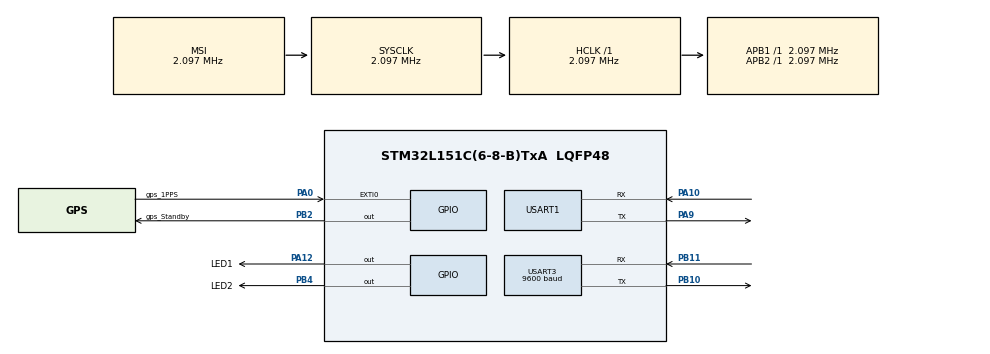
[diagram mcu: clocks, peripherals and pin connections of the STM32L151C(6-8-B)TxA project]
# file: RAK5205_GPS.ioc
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Mcu.Family=STM32L1
Mcu.Name=STM32L151C(6-8-B)TxA
Mcu.Package=LQFP48
NVIC.EXTI0_IRQn=true\:0\:0\:false\:false\:true\:true
NVIC.PriorityGroup=NVIC_PRIORITYGROUP_4
NVIC.USART3_IRQn=true\:0\:0\:false\:false\:true\:true
PA0-WKUP1.GPIO_Label=gps_1PPS
PA0-WKUP1.Signal=GPXTI0
PA10.Mode=Asynchronous
PA10.Signal=USART1_RX
PA12.GPIO_Label=LED1
PA12.PinState=GPIO_PIN_SET
PA12.Signal=GPIO_Output
PA13.Mode=Serial_Wire
PA13.Signal=SYS_JTMS-SWDIO
PA14.Mode=Serial_Wire
PA14.Signal=SYS_JTCK-SWCLK
PA9.Mode=Asynchronous
PA9.Signal=USART1_TX
PB10.Mode=Asynchronous
PB10.Signal=USART3_TX
PB11.Mode=Asynchronous
PB11.Signal=USART3_RX
PB2.GPIO_Label=gps_Standby
PB2.Signal=GPIO_Output
PB4.GPIO_Label=LED2
PB4.PinState=GPIO_PIN_SET
PB4.Signal=GPIO_Output
PC14-OSC32_IN.Mode=LSE-External-Oscillator
PC14-OSC32_IN.Signal=RCC_OSC32_IN
PC15-OSC32_OUT.Mode=LSE-External-Oscillator
PC15-OSC32_OUT.Signal=RCC_OSC32_OUT
ProjectManager.HeapSize=0x200
ProjectManager.StackSize=0x400
ProjectManager.TargetToolchain=SW4STM32
RCC.AHBFreq_Value=2097000
RCC.APB1Freq_Value=2097000
RCC.APB2Freq_Value=2097000
RCC.HSE_VALUE=24000000
RCC.HSI_VALUE=16000000
RCC.MSI_VALUE=2097000
RCC.SYSCLKFreq_VALUE=2097000
RCC.VCOOutputFreq_Value=48000000
USART1.VirtualMode=VM_ASYNC
USART3.BaudRate=9600
USART3.VirtualMode=VM_ASYNC
board=custom

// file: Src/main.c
/* USER CODE BEGIN Header */
/**
  ******************************************************************************
  * @file           : main.c
  * @brief          : Main program body
  ******************************************************************************
  ** This notice applies to any and all portions of this file
  * that are not between comment pairs USER CODE BEGIN and
  * USER CODE END. Other portions of this file, whether
  * inserted by the user or by software development tools
  * are owned by their respective copyright owners.
  *
  * COPYRIGHT(c) 2018 STMicroelectronics
  *
  * Redistribution and use in source and binary forms, with or without modification,
  * are permitted provided that the following conditions are met:
  *   1. Redistributions of source code must retain the above copyright notice,
  *      this list of conditions and the following disclaimer.
  *   2. Redistributions in binary form must reproduce the above copyright notice,
  *      this list of conditions and the following disclaimer in the documentation
  *      and/or other materials provided with the distribution.
  *   3. Neither the name of STMicroelectronics nor the names of its contributors
  *      may be used to endorse or promote products derived from this software
  *      without specific prior written permission.
  *
  * THIS SOFTWARE IS PROVIDED BY THE COPYRIGHT HOLDERS AND CONTRIBUTORS "AS IS"
  * AND ANY EXPRESS OR IMPLIED WARRANTIES, INCLUDING, BUT NOT LIMITED TO, THE
  * IMPLIED WARRANTIES OF MERCHANTABILITY AND FITNESS FOR A PARTICULAR PURPOSE ARE
  * DISCLAIMED. IN NO EVENT SHALL THE COPYRIGHT HOLDER OR CONTRIBUTORS BE LIABLE
  * FOR ANY DIRECT, INDIRECT, INCIDENTAL, SPECIAL, EXEMPLARY, OR CONSEQUENTIAL
  * DAMAGES (INCLUDING, BUT NOT LIMITED TO, PROCUREMENT OF SUBSTITUTE GOODS OR
  * SERVICES; LOSS OF USE, DATA, OR PROFITS; OR BUSINESS INTERRUPTION) HOWEVER
  * CAUSED AND ON ANY THEORY OF LIABILITY, WHETHER IN CONTRACT, STRICT LIABILITY,
  * OR TORT (INCLUDING NEGLIGENCE OR OTHERWISE) ARISING IN ANY WAY OUT OF THE USE
  * OF THIS SOFTWARE, EVEN IF ADVISED OF THE POSSIBILITY OF SUCH DAMAGE.
  *
  ******************************************************************************
  */
/* USER CODE END Header */

#include "main.h"

/* USER CODE BEGIN Includes */

#include <stdlib.h>
#include <stdbool.h>
#include <errno.h>
#include "fifo.h"
#include <string.h>

#define FIFO_RX_SIZE     512
/* USER CODE END Includes */

UART_HandleTypeDef huart1;
UART_HandleTypeDef huart3;

/* USER CODE BEGIN PV */
extern UartContext_t UartContext;
Fifo_t rxFifo;
bool endOfNmeaMessage;

/* USER CODE END PV */

void SystemClock_Config(void);
static void MX_GPIO_Init(void);
static void MX_USART1_UART_Init(void);
static void MX_USART3_UART_Init(void);

int main(void)
{
  /* USER CODE BEGIN 1 */
	uint8_t *UART_RxBuffer;
	uint8_t c;
	register int sp asm ("sp");

  /* USER CODE END 1 */

  /* MCU Configuration--------------------------------------------------------*/

  /* Reset of all peripherals, Initializes the Flash interface and the Systick. */
  HAL_Init();

  /* Configure the system clock */
  SystemClock_Config();

  /* Initialize all configured peripherals */
  MX_GPIO_Init();
  MX_USART1_UART_Init();
  MX_USART3_UART_Init();
  /* USER CODE BEGIN 2 */
  printf("Rak5205 GPS demo program\r\n");
  printf("The Quectel L76 GPS receiver is connected to Rak811 UART 3\r\n");
  printf("The GPS timing pulse is connected to Rak811 GPIO PA0\r\n");
  printf("Stack pointer is at %x\r\n",sp);

  /* initialize the fifo for UART Rx */

  UART_RxBuffer = malloc(FIFO_RX_SIZE);

  if (UART_RxBuffer == NULL) {
	  printf("Cannot allocate the nmea message fifo buffer\r\n");
	  perror("Error after malloc: ");
	  while (1)
		  HAL_Delay(10000);
  }
  else
	  printf("fifo buffer allocated at 0x%lx\r\n",(long)UART_RxBuffer);
  FifoInit(&rxFifo,UART_RxBuffer,FIFO_RX_SIZE);

  HAL_UART_Receive_IT( &huart3, &UartContext.RxData, 1 );

  printf("Switching GPS Standby off\r\n");
  HAL_GPIO_WritePin(gps_Standby_GPIO_Port, gps_Standby_Pin, GPIO_PIN_SET);

  /* USER CODE END 2 */

  /* Infinite loop */
  /* USER CODE BEGIN WHILE */

  /*
   * first message may be incomplete
   */

  endOfNmeaMessage=false;

  while (1)
  {
	  if (!IsFifoEmpty(&rxFifo)) {
		  c = FifoPop(&rxFifo);
		  printf("%c",c);
	  }

    /* USER CODE END WHILE */

  }
}

void SystemClock_Config(void)
{
  RCC_OscInitTypeDef RCC_OscInitStruct = {0};
  RCC_ClkInitTypeDef RCC_ClkInitStruct = {0};

  /**Configure the main internal regulator output voltage
  */
  __HAL_PWR_VOLTAGESCALING_CONFIG(PWR_REGULATOR_VOLTAGE_SCALE1);
  /**Initializes the CPU, AHB and APB busses clocks
  */
  RCC_OscInitStruct.OscillatorType = RCC_OSCILLATORTYPE_MSI;
  RCC_OscInitStruct.MSIState = RCC_MSI_ON;
  RCC_OscInitStruct.MSICalibrationValue = 0;
  RCC_OscInitStruct.MSIClockRange = RCC_MSIRANGE_5;
  RCC_OscInitStruct.PLL.PLLState = RCC_PLL_NONE;
  if (HAL_RCC_OscConfig(&RCC_OscInitStruct) != HAL_OK)
  {
    Error_Handler();
  }
  /**Initializes the CPU, AHB and APB busses clocks
  */
  RCC_ClkInitStruct.ClockType = RCC_CLOCKTYPE_HCLK|RCC_CLOCKTYPE_SYSCLK
                              |RCC_CLOCKTYPE_PCLK1|RCC_CLOCKTYPE_PCLK2;
  RCC_ClkInitStruct.SYSCLKSource = RCC_SYSCLKSOURCE_MSI;
  RCC_ClkInitStruct.AHBCLKDivider = RCC_SYSCLK_DIV1;
  RCC_ClkInitStruct.APB1CLKDivider = RCC_HCLK_DIV1;
  RCC_ClkInitStruct.APB2CLKDivider = RCC_HCLK_DIV1;

  if (HAL_RCC_ClockConfig(&RCC_ClkInitStruct, FLASH_LATENCY_0) != HAL_OK)
  {
    Error_Handler();
  }
}

static void MX_USART1_UART_Init(void)
{

  huart1.Instance = USART1;
  huart1.Init.BaudRate = 115200;
  huart1.Init.WordLength = UART_WORDLENGTH_8B;
  huart1.Init.StopBits = UART_STOPBITS_1;
  huart1.Init.Parity = UART_PARITY_NONE;
  huart1.Init.Mode = UART_MODE_TX_RX;
  huart1.Init.HwFlowCtl = UART_HWCONTROL_NONE;
  huart1.Init.OverSampling = UART_OVERSAMPLING_16;
  if (HAL_UART_Init(&huart1) != HAL_OK)
  {
    Error_Handler();
  }

}

static void MX_USART3_UART_Init(void)
{

  huart3.Instance = USART3;
  huart3.Init.BaudRate = 9600;
  huart3.Init.WordLength = UART_WORDLENGTH_8B;
  huart3.Init.StopBits = UART_STOPBITS_1;
  huart3.Init.Parity = UART_PARITY_NONE;
  huart3.Init.Mode = UART_MODE_TX_RX;
  huart3.Init.HwFlowCtl = UART_HWCONTROL_NONE;
  huart3.Init.OverSampling = UART_OVERSAMPLING_16;
  if (HAL_UART_Init(&huart3) != HAL_OK)
  {
    Error_Handler();
  }

}

static void MX_GPIO_Init(void)
{
  GPIO_InitTypeDef GPIO_InitStruct = {0};

  /* GPIO Ports Clock Enable */
  __HAL_RCC_GPIOC_CLK_ENABLE();
  __HAL_RCC_GPIOA_CLK_ENABLE();
  __HAL_RCC_GPIOB_CLK_ENABLE();

  /*Configure GPIO pin Output Level */
  HAL_GPIO_WritePin(gps_Standby_GPIO_Port, gps_Standby_Pin, GPIO_PIN_RESET);

  /*Configure GPIO pin Output Level */
  HAL_GPIO_WritePin(LED1_GPIO_Port, LED1_Pin, GPIO_PIN_SET);

  /*Configure GPIO pin Output Level */
  HAL_GPIO_WritePin(LED2_GPIO_Port, LED2_Pin, GPIO_PIN_SET);

  /*Configure GPIO pin : gps_1PPS_Pin */
  GPIO_InitStruct.Pin = gps_1PPS_Pin;
  GPIO_InitStruct.Mode = GPIO_MODE_IT_RISING;
  GPIO_InitStruct.Pull = GPIO_NOPULL;
  HAL_GPIO_Init(gps_1PPS_GPIO_Port, &GPIO_InitStruct);

  /*Configure GPIO pins : gps_Standby_Pin LED2_Pin */
  GPIO_InitStruct.Pin = gps_Standby_Pin|LED2_Pin;
  GPIO_InitStruct.Mode = GPIO_MODE_OUTPUT_PP;
  GPIO_InitStruct.Pull = GPIO_NOPULL;
  GPIO_InitStruct.Speed = GPIO_SPEED_FREQ_LOW;
  HAL_GPIO_Init(GPIOB, &GPIO_InitStruct);

  /*Configure GPIO pin : LED1_Pin */
  GPIO_InitStruct.Pin = LED1_Pin;
  GPIO_InitStruct.Mode = GPIO_MODE_OUTPUT_PP;
  GPIO_InitStruct.Pull = GPIO_NOPULL;
  GPIO_InitStruct.Speed = GPIO_SPEED_FREQ_LOW;
  HAL_GPIO_Init(LED1_GPIO_Port, &GPIO_InitStruct);

  /* EXTI interrupt init*/
  HAL_NVIC_SetPriority(EXTI0_IRQn, 0, 0);
  HAL_NVIC_EnableIRQ(EXTI0_IRQn);

}

void Error_Handler(void)
{
}

/************************ (C) COPYRIGHT STMicroelectronics *****END OF FILE****/
